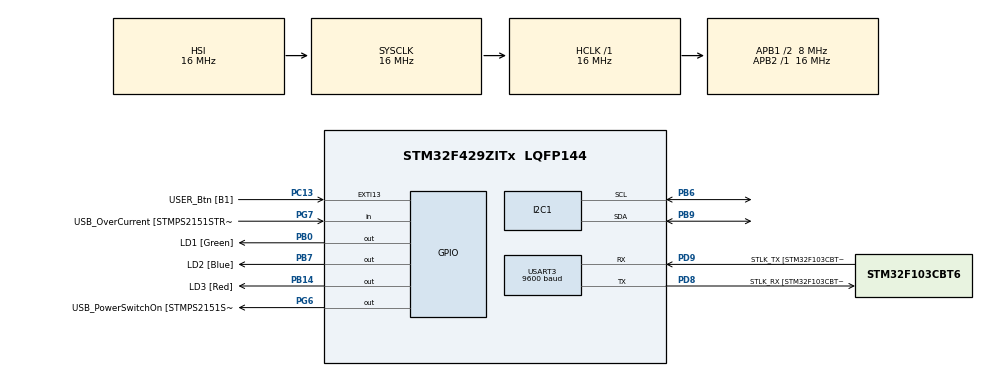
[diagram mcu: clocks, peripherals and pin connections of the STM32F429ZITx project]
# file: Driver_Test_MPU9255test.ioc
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I2C1.I2C_Mode=I2C_Fast
Mcu.Family=STM32F4
Mcu.Name=STM32F429ZITx
Mcu.Package=LQFP144
NVIC.PriorityGroup=NVIC_PRIORITYGROUP_4
PA1.GPIO_Label=RMII_REF_CLK [LAN8742A-CZ-TR_REFCLK0]
PA1.Signal=ETH_REF_CLK
PA10.GPIO_Label=USB_ID
PA10.Signal=USB_OTG_FS_ID
PA11.GPIO_Label=USB_DM
PA11.Signal=USB_OTG_FS_DM
PA12.GPIO_Label=USB_DP
PA12.Signal=USB_OTG_FS_DP
PA13.GPIO_Label=TMS
PA13.Signal=SYS_JTMS-SWDIO
PA14.GPIO_Label=TCK
PA14.Signal=SYS_JTCK-SWCLK
PA2.GPIO_Label=RMII_MDIO [LAN8742A-CZ-TR_MDIO]
PA2.Signal=ETH_MDIO
PA7.GPIO_Label=RMII_CRS_DV [LAN8742A-CZ-TR_CRS_DV]
PA7.Signal=ETH_CRS_DV
PA8.GPIO_Label=USB_SOF [TP1]
PA8.Signal=USB_OTG_FS_SOF
PA9.GPIO_Label=USB_VBUS
PA9.Signal=USB_OTG_FS_VBUS
PB0.GPIO_Label=LD1 [Green]
PB0.Signal=GPIO_Output
PB13.GPIO_Label=RMII_TXD1 [LAN8742A-CZ-TR_TXD1]
PB13.Signal=ETH_TXD1
PB14.GPIO_Label=LD3 [Red]
PB14.Signal=GPIO_Output
PB6.Mode=I2C
PB6.Signal=I2C1_SCL
PB7.GPIO_Label=LD2 [Blue]
PB7.Signal=GPIO_Output
PB9.Mode=I2C
PB9.Signal=I2C1_SDA
PC1.GPIO_Label=RMII_MDC [LAN8742A-CZ-TR_MDC]
PC1.Signal=ETH_MDC
PC13.GPIO_Label=USER_Btn [B1]
PC13.Signal=GPXTI13
PC14/OSC32_IN.Signal=RCC_OSC32_IN
PC15/OSC32_OUT.Signal=RCC_OSC32_OUT
PC4.GPIO_Label=RMII_RXD0 [LAN8742A-CZ-TR_RXD0]
PC4.Signal=ETH_RXD0
PC5.GPIO_Label=RMII_RXD1 [LAN8742A-CZ-TR_RXD1]
PC5.Signal=ETH_RXD1
PD8.GPIO_Label=STLK_RX [STM32F103CBT6_PA3]
PD8.Mode=Asynchronous
PD8.Signal=USART3_TX
PD9.GPIO_Label=STLK_TX [STM32F103CBT6_PA2]
PD9.Mode=Asynchronous
PD9.Signal=USART3_RX
PG11.GPIO_Label=RMII_TX_EN [LAN8742A-CZ-TR_TXEN]
PG11.Signal=ETH_TX_EN
PG13.GPIO_Label=RMII_TXD0 [LAN8742A-CZ-TR_TXD0]
PG13.Signal=ETH_TXD0
PG6.GPIO_Label=USB_PowerSwitchOn [STMPS2151STR_EN]
PG6.Signal=GPIO_Output
PG7.GPIO_Label=USB_OverCurrent [STMPS2151STR_FAULT]
PG7.Signal=GPIO_Input
PH0/OSC_IN.GPIO_Label=MCO [STM32F103CBT6_PA8]
PH0/OSC_IN.Signal=RCC_OSC_IN
PH1/OSC_OUT.Signal=RCC_OSC_OUT
ProjectManager.HeapSize=0x200
ProjectManager.StackSize=0x400
ProjectManager.TargetToolchain=STM32CubeIDE
RCC.48MHZClocksFreq_Value=48000000
RCC.AHBFreq_Value=16000000
RCC.APB1CLKDivider=RCC_HCLK_DIV2
RCC.APB1Freq_Value=8000000
RCC.APB1TimFreq_Value=16000000
RCC.APB2Freq_Value=16000000
RCC.APB2TimFreq_Value=16000000
RCC.CortexFreq_Value=16000000
RCC.HCLKFreq_Value=16000000
RCC.HSE_VALUE=8000000
RCC.HSI_VALUE=16000000
RCC.LSE_VALUE=32768
RCC.PLLMUL=RCC_PLL_MUL9
RCC.PRESCALERUSB=RCC_USBCLKSOURCE_PLL_DIV1_5
RCC.SYSCLKFreq_VALUE=16000000
RCC.SYSCLKSourceVirtual=RCC_SYSCLKSOURCE_PLLCLK
RCC.USBFreq_Value=48000000
RCC.VCOOutputFreq_Value=192000000
USART3.BaudRate=9600
USART3.VirtualMode=VM_ASYNC
board=NUCLEO-F429ZI

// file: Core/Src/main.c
/* USER CODE BEGIN Header */
/**
 ******************************************************************************
 * @file           : main.c
 * @brief          : Main program body
 ******************************************************************************
 * @attention
 *
 * Copyright (c) 2023 STMicroelectronics.
 * All rights reserved.
 *
 * This software is licensed under terms that can be found in the LICENSE file
 * in the root directory of this software component.
 * If no LICENSE file comes with this software, it is provided AS-IS.
 *
 ******************************************************************************
 */
/* USER CODE END Header */
#include "main.h"
/* USER CODE BEGIN Includes */
// inicializar perifericos
#define MPU9255_ADDR 0xD0

#define SMPLRT_DIV_REG 0x19
#define ACCEL_CONFIG_REG 0x1C
#define ACCEL_XOUT_H_REG 0x3B
#define TEMP_OUT_H_REG 0x41
#define PWR_MGMT_1_REG 0x6B
#define WHO_AM_I_REG 0x75

//Datos para acelerometro
int16_t Accel_X_RAW = 0;
int16_t Accel_Y_RAW = 0;
int16_t Accel_Z_RAW = 0;

float Ax, Ay, Az;

/* USER CODE END Includes */

I2C_HandleTypeDef hi2c1;
UART_HandleTypeDef huart3;

/* USER CODE BEGIN PV */
uint8_t Buffer[25] = {0};
uint8_t Space[] = " - ";
uint8_t StartMSG[] = "Starting I2C Scanning: \r\n";
uint8_t EndMSG[] = "Done! \r\n\r\n";
/* USER CODE END PV */

void SystemClock_Config(void);

//-------------- CHEQUEO FUNCIONAL-------------------------------------------------------------

void MPU9255_Init(void)
{
	uint8_t check;
	uint8_t Data;

	// chequeo WHO_AM_I

	HAL_I2C_Mem_Read(&hi2c1, MPU9255_ADDR, WHO_AM_I_REG, 1, &check, 1, 1000);

	if (check == 104) // retorna 0x68 si esta todo ok
	{
		// 0X6B despierta el sensor
		Data = 0;
		HAL_I2C_Mem_Write(&hi2c1, MPU9255_ADDR, PWR_MGMT_1_REG, 1, &Data, 1, 1000);

		// Seteo DATA RATE a 1KHz - SMPLRT_DIV register
		Data = 0x07;
		HAL_I2C_Mem_Write(&hi2c1, MPU9255_ADDR, SMPLRT_DIV_REG, 1, &Data, 1, 1000);

		// Configuracion del ACCEL_CONFIG Register
		// XA_ST=0,YA_ST=0,ZA_ST=0, FS_SEL=0 -> � 2g
		Data = 0x00;
		HAL_I2C_Mem_Write(&hi2c1, MPU9255_ADDR, ACCEL_CONFIG_REG, 1, &Data, 1, 1000);

	}
}

void MPU9255_Read_Accel(void)
{
	uint8_t Rec_Data[6];

	// Read 6 BYTES of data starting from ACCEL_XOUT_H register

	HAL_I2C_Mem_Read(&hi2c1, MPU9255_ADDR, ACCEL_XOUT_H_REG, 1, Rec_Data, 6, 1000);

	Accel_X_RAW = (int16_t)(Rec_Data[0] << 8 | Rec_Data[1]);
	Accel_Y_RAW = (int16_t)(Rec_Data[2] << 8 | Rec_Data[3]);
	Accel_Z_RAW = (int16_t)(Rec_Data[4] << 8 | Rec_Data[5]);

	/*** convert the RAW values into acceleration in 'g'
       we have to divide according to the Full scale value set in FS_SEL
       I have configured FS_SEL = 0. So I am dividing by 16384.0****/

	Ax = Accel_X_RAW / 16384.0;
	Ay = Accel_Y_RAW / 16384.0;
	Az = Accel_Z_RAW / 16384.0;
}

int main(void)
{
	uint8_t i = 0, ret;
	HAL_Init();

	SystemClock_Config();

	/* Initialize all configured peripherals */
	MX_GPIO_Init();
	MX_I2C1_Init();
	MX_USART3_UART_Init();

	// Inicializo I2c
	MPU9255_Init();

	//Identifica los perifericos existentes
	HAL_Delay(1000);

	/*-[ I2C Bus Scanning ]-*/
	HAL_UART_Transmit(&huart3, StartMSG, sizeof(StartMSG), 10000);
	uartSendString(StartMSG);
	for(i=1; i<128; i++)
	{
		ret = HAL_I2C_IsDeviceReady(&hi2c1, (uint16_t)(i<<1), 3, 5);
		if (ret != HAL_OK) /* No ACK Received At That Address */
		{
			HAL_UART_Transmit(&huart3, Space, sizeof(Space), 10000);
			uartSendString(Space);
		}
		else if(ret == HAL_OK)
		{
			sprintf(Buffer, "0x%X", i);
			HAL_UART_Transmit(&huart3, Buffer, sizeof(Buffer), 10000);
			uartSendString(Buffer);
		}
	}
	HAL_UART_Transmit(&huart3, EndMSG, sizeof(EndMSG), 10000);
	//iniciar debounce estado MEF
	//inicia estado MEF QUIETO
	debounceFSM_init();

	///
	while (1)
	{
		MPU9255_Read_Accel();
		uartSendString(" Medicion Accelerometro: ");

		//leer variable X accelerometro
		int varx = Ax;
		char int_str1[20];
		sprintf(int_str1, "%d", varx);
		uartSendString(int_str1);

		//leer variable Y accelerometro
		int vary = Ay;
		char int_str2[20];
		sprintf(int_str2, "%d", vary);
		uartSendString(int_str2);

		//leer variable Z accelerometro
		int varz = Az;
		char int_str3[20];
		sprintf(int_str3, "%d", varz);
		uartSendString(int_str3);

		//checkeo de dato transmitido I2C
		uint8_t check = 0;
		HAL_I2C_Mem_Read(&hi2c1, MPU9255_ADDR, WHO_AM_I_REG, 1, &check, 1, 1000);
		uartSendString(" prueba ");
		uartSendString(check);

		//actualiza el estado
		debounceFSM_update(Ax,Ay,Az);
	}
}

void SystemClock_Config(void)
{
	RCC_OscInitTypeDef RCC_OscInitStruct = {0};
	RCC_ClkInitTypeDef RCC_ClkInitStruct = {0};

	/** Configure the main internal regulator output voltage
	 */
	__HAL_RCC_PWR_CLK_ENABLE();
	__HAL_PWR_VOLTAGESCALING_CONFIG(PWR_REGULATOR_VOLTAGE_SCALE3);

	/** Initializes the RCC Oscillators according to the specified parameters
	 * in the RCC_OscInitTypeDef structure.
	 */
	RCC_OscInitStruct.OscillatorType = RCC_OSCILLATORTYPE_HSI;
	RCC_OscInitStruct.HSIState = RCC_HSI_ON;
	RCC_OscInitStruct.HSICalibrationValue = RCC_HSICALIBRATION_DEFAULT;
	RCC_OscInitStruct.PLL.PLLState = RCC_PLL_NONE;
	if (HAL_RCC_OscConfig(&RCC_OscInitStruct) != HAL_OK)
	{
		Error_Handler();
	}

	/** Initializes the CPU, AHB and APB buses clocks
	 */
	RCC_ClkInitStruct.ClockType = RCC_CLOCKTYPE_HCLK | RCC_CLOCKTYPE_SYSCLK | RCC_CLOCKTYPE_PCLK1 | RCC_CLOCKTYPE_PCLK2;
	RCC_ClkInitStruct.SYSCLKSource = RCC_SYSCLKSOURCE_HSI;
	RCC_ClkInitStruct.AHBCLKDivider = RCC_SYSCLK_DIV1;
	RCC_ClkInitStruct.APB1CLKDivider = RCC_HCLK_DIV2;
	RCC_ClkInitStruct.APB2CLKDivider = RCC_HCLK_DIV1;

	if (HAL_RCC_ClockConfig(&RCC_ClkInitStruct, FLASH_LATENCY_0) != HAL_OK)
	{
		Error_Handler();
	}
}

void Error_Handler(void)
{
	__disable_irq();
	while (1)
	{
	}
}
